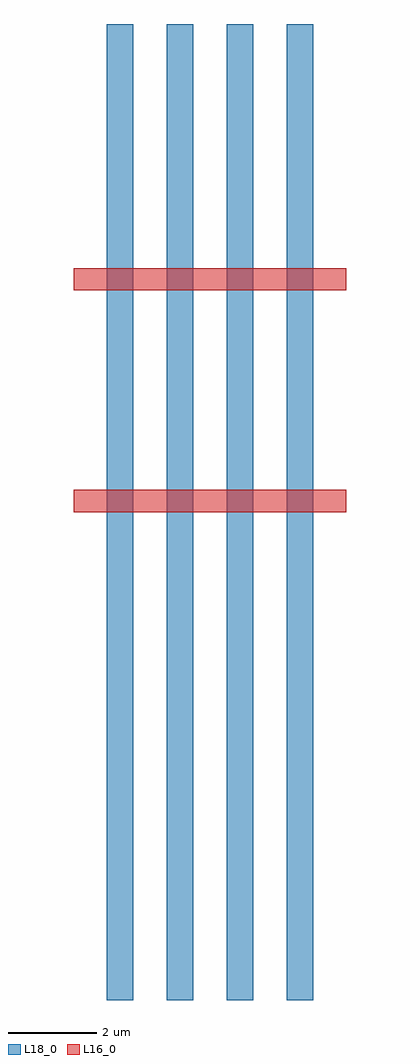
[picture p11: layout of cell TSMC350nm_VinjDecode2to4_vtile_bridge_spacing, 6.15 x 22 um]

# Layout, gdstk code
import gdstk
lib = gdstk.Library(unit=1e-6, precision=1e-09)
L16_0 = (16, 0)
L18_0 = (18, 0)

tsmc350nm_vinjdecode2to4 = lib.new_cell('TSMC350nm_VinjDecode2to4_vtile_bridge_spacing')
tsmc350nm_vinjdecode2to4.add(gdstk.FlexPath([(3.75,22),(3.75,0)], 0.6, ends="flush", simple_path=True, layer=18, datatype=0))  # L18_0
tsmc350nm_vinjdecode2to4.add(gdstk.FlexPath([(5.1,22),(5.1,0)], 0.6, ends="flush", simple_path=True, layer=18, datatype=0))  # L18_0
tsmc350nm_vinjdecode2to4.add(gdstk.FlexPath([(2.4,22),(2.4,0)], 0.6, ends="flush", simple_path=True, layer=18, datatype=0))  # L18_0
tsmc350nm_vinjdecode2to4.add(gdstk.FlexPath([(1.05,22),(1.05,0)], 0.6, ends="flush", simple_path=True, layer=18, datatype=0))  # L18_0
tsmc350nm_vinjdecode2to4.add(gdstk.FlexPath([(0,11.25),(6.15,11.25)], 0.5, ends="flush", simple_path=True, layer=16, datatype=0))  # L16_0
tsmc350nm_vinjdecode2to4.add(gdstk.FlexPath([(0,16.25),(6.15,16.25)], 0.5, ends="flush", simple_path=True, layer=16, datatype=0))  # L16_0

lib.write_gds('TSMC350nm_VinjDecode2to4_vtile_bridge_spacing.gds')
